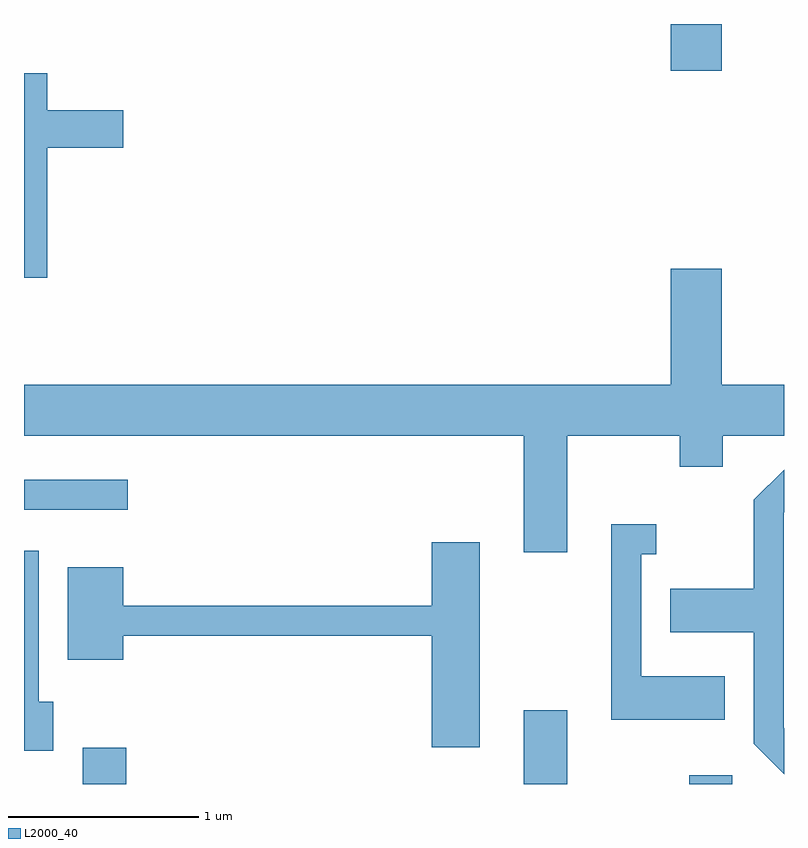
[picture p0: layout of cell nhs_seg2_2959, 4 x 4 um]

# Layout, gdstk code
import gdstk
lib = gdstk.Library(unit=1e-6, precision=1e-09)
def R(c, l, rs):  # rectangles x0, y0, x1, y1
    for r in rs: c.add(gdstk.rectangle(r[:2], r[2:], *l))
def P(c, l, *ps):  # polygons
    for p in ps: c.add(gdstk.Polygon(p, *l))
L2000_40 = (2000, 40)

nhs_seg2_2959 = lib.new_cell('nhs_seg2_2959')
R(nhs_seg2_2959, L2000_40, [(271.921,1059.802,272.149,1059.994), (274.241,1059.802,274.469,1060.189), (275.111,1059.802,275.339,1059.849), (271.611,1061.246,272.158,1061.404), (275.016,1063.556,275.284,1063.802)])
P(nhs_seg2_2959, L2000_40, [(271.734,1063.151),(272.134,1063.151),(272.134,1063.349),(271.734,1063.349),(271.734,1063.544),(271.611,1063.544),(271.611,1062.466),(271.734,1062.466)],
  [(274.469,1061.636),(275.061,1061.636),(275.061,1061.471),(275.289,1061.471),(275.289,1061.636),(275.611,1061.636),(275.611,1061.904),(275.284,1061.904),(275.284,1062.514),(275.016,1062.514),(275.016,1061.904),(271.611,1061.904),(271.611,1061.636),(274.241,1061.636),(274.241,1061.021),(274.469,1061.021)],
  [(275.611,1060.095),(275.609,1060.097),(275.609,1061.229),(275.611,1061.231),(275.611,1061.456),(275.451,1061.297),(275.451,1060.829),(275.011,1060.829),(275.011,1060.601),(275.451,1060.601),(275.451,1060.014),(275.611,1059.854)],
  [(275.299,1060.369),(274.859,1060.369),(274.859,1061.011),(274.938,1061.011),(274.938,1061.169),(274.701,1061.169),(274.701,1060.141),(275.299,1060.141)],
  [(274.009,1061.074),(273.756,1061.074),(273.756,1060.739),(272.134,1060.739),(272.134,1060.944),(271.841,1060.944),(271.841,1060.456),(272.134,1060.456),(272.134,1060.581),(273.756,1060.581),(273.756,1059.996),(274.009,1059.996)],
  [(271.764,1060.234),(271.689,1060.234),(271.689,1061.029),(271.611,1061.029),(271.611,1059.976),(271.764,1059.976)])

lib.write_gds('nhs_seg2_2959.gds')
